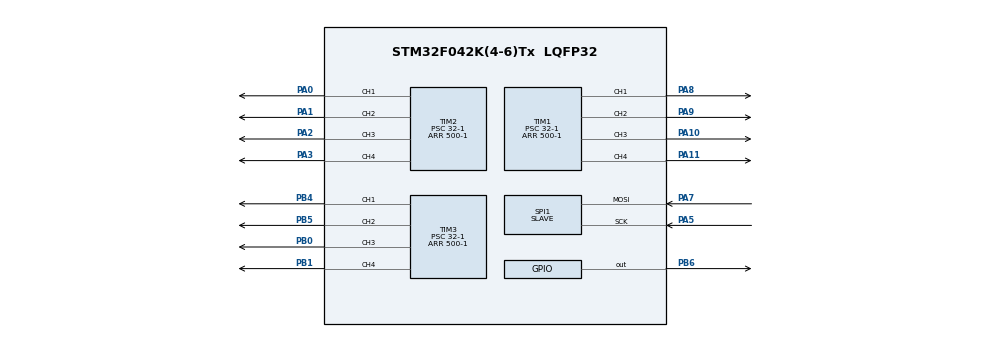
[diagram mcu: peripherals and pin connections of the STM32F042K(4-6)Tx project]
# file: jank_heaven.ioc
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Mcu.Family=STM32F0
Mcu.Name=STM32F042K(4-6)Tx
Mcu.Package=LQFP32
NVIC.SPI1_IRQn=true\:0\:0\:false\:false\:true\:true\:true\:true
PA0.Signal=S_TIM2_CH1_ETR
PA1.Signal=S_TIM2_CH2
PA10.Signal=S_TIM1_CH3
PA11.Signal=S_TIM1_CH4
PA13.Mode=Serial_Wire
PA13.Signal=SYS_SWDIO
PA14.Mode=Serial_Wire
PA14.Signal=SYS_SWCLK
PA2.Signal=S_TIM2_CH3
PA3.Signal=S_TIM2_CH4
PA4.Signal=SPI1_NSS
PA5.Mode=RX_Only_Simplex_Unidirect_Slave
PA5.Signal=SPI1_SCK
PA6.Signal=SPI1_MISO
PA7.Mode=RX_Only_Simplex_Unidirect_Slave
PA7.Signal=SPI1_MOSI
PA8.Signal=S_TIM1_CH1
PA9.Signal=S_TIM1_CH2
PB0.Signal=S_TIM3_CH3
PB1.Signal=S_TIM3_CH4
PB4.Signal=S_TIM3_CH1
PB5.Signal=S_TIM3_CH2
PB6.Signal=GPIO_Output
ProjectManager.HeapSize=0x200
ProjectManager.StackSize=0x400
ProjectManager.TargetToolchain=STM32CubeIDE
SH.S_TIM1_CH1.0=TIM1_CH1,PWM Generation1 CH1
SH.S_TIM1_CH2.0=TIM1_CH2,PWM Generation2 CH2
SH.S_TIM1_CH3.0=TIM1_CH3,PWM Generation3 CH3
SH.S_TIM1_CH4.0=TIM1_CH4,PWM Generation4 CH4
SH.S_TIM2_CH1_ETR.0=TIM2_CH1,PWM Generation1 CH1
SH.S_TIM2_CH2.0=TIM2_CH2,PWM Generation2 CH2
SH.S_TIM2_CH3.0=TIM2_CH3,PWM Generation3 CH3
SH.S_TIM2_CH4.0=TIM2_CH4,PWM Generation4 CH4
SH.S_TIM3_CH1.0=TIM3_CH1,PWM Generation1 CH1
SH.S_TIM3_CH2.0=TIM3_CH2,PWM Generation2 CH2
SH.S_TIM3_CH3.0=TIM3_CH3,PWM Generation3 CH3
SH.S_TIM3_CH4.0=TIM3_CH4,PWM Generation4 CH4
SPI1.DataSize=SPI_DATASIZE_8BIT
SPI1.Direction=SPI_DIRECTION_2LINES_RXONLY
SPI1.Mode=SPI_MODE_SLAVE
SPI1.VirtualType=VM_SLAVE
TIM1.Channel-PWM\ Generation1\ CH1=TIM_CHANNEL_1
TIM1.Channel-PWM\ Generation2\ CH2=TIM_CHANNEL_2
TIM1.Channel-PWM\ Generation3\ CH3=TIM_CHANNEL_3
TIM1.Channel-PWM\ Generation4\ CH4=TIM_CHANNEL_4
TIM1.Period=500-1
TIM1.Prescaler=32-1
TIM2.Channel-PWM\ Generation1\ CH1=TIM_CHANNEL_1
TIM2.Channel-PWM\ Generation2\ CH2=TIM_CHANNEL_2
TIM2.Channel-PWM\ Generation3\ CH3=TIM_CHANNEL_3
TIM2.Channel-PWM\ Generation4\ CH4=TIM_CHANNEL_4
TIM2.Period=500-1
TIM2.Prescaler=32-1
TIM2.Pulse-PWM\ Generation1\ CH1=375
TIM2.Pulse-PWM\ Generation2\ CH2=375
TIM2.Pulse-PWM\ Generation3\ CH3=375
TIM2.Pulse-PWM\ Generation4\ CH4=375
TIM3.Channel-PWM\ Generation1\ CH1=TIM_CHANNEL_1
TIM3.Channel-PWM\ Generation2\ CH2=TIM_CHANNEL_2
TIM3.Channel-PWM\ Generation3\ CH3=TIM_CHANNEL_3
TIM3.Channel-PWM\ Generation4\ CH4=TIM_CHANNEL_4
TIM3.Period=500-1
TIM3.Prescaler=32-1
TIM3.Pulse-PWM\ Generation2\ CH2=375
TIM3.Pulse-PWM\ Generation3\ CH3=375
TIM3.Pulse-PWM\ Generation4\ CH4=375
board=custom

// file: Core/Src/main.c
/* USER CODE BEGIN Header */
/**
  ******************************************************************************
  * @file           : main.c
  * @brief          : Main program body
  ******************************************************************************
  * @attention
  *
  * <h2><center>&copy; Copyright (c) 2023 STMicroelectronics.
  * All rights reserved.</center></h2>
  *
  * This software component is licensed by ST under BSD 3-Clause license,
  * the "License"; You may not use this file except in compliance with the
  * License. You may obtain a copy of the License at:
  *                        opensource.org/licenses/BSD-3-Clause
  *
  ******************************************************************************
  */
/* USER CODE END Header */
#include "main.h"

/* USER CODE BEGIN PD */
#define SPI_BUFFER_SIZE 8
/* USER CODE END PD */

SPI_HandleTypeDef hspi1;

TIM_HandleTypeDef htim1;
TIM_HandleTypeDef htim2;
TIM_HandleTypeDef htim3;

/* USER CODE BEGIN PV */

uint8_t SPI_RX_Buffer[SPI_BUFFER_SIZE] = {127, 127, 127, 127, 127, 127, 127, 127};

/* USER CODE END PV */

void SystemClock_Config(void);
static void MX_GPIO_Init(void);
static void MX_SPI1_Init(void);
static void MX_TIM2_Init(void);
static void MX_TIM3_Init(void);
static void MX_TIM1_Init(void);
/* USER CODE BEGIN PFP */

void EnablePWMOutput(TIM_HandleTypeDef *_htim);

/* USER CODE END PFP */

int main(void)
{

  /* MCU Configuration--------------------------------------------------------*/

  /* Reset of all peripherals, Initializes the Flash interface and the Systick. */
  HAL_Init();

  /* Configure the system clock */
  SystemClock_Config();

  /* Initialize all configured peripherals */
  MX_GPIO_Init();
  MX_SPI1_Init();
  MX_TIM2_Init();
  MX_TIM3_Init();
  MX_TIM1_Init();
  /* USER CODE BEGIN 2 */

  /**
    * @brief  Receive an amount of data in non-blocking mode with Interrupt.
    * @param  hspi pointer to a SPI_HandleTypeDef structure that contains
    *               the configuration information for SPI module.
    * @param  pData pointer to data buffer
    * @param  Size amount of data to be sent
    * @retval HAL status

  HAL_StatusTypeDef HAL_SPI_Receive_IT(SPI_HandleTypeDef *hspi, uint8_t *pData, uint16_t Size)
  */
  //HAL_SPI_Receive_IT(&hspi1, SPI_RX_Buffer, SPI_BUFFER_SIZE);
  //HAL_TIM_PWM_Start
  /*
  HAL_TIM_PWM_Start(&htim3, 1);
  HAL_TIM_PWM_Start(&htim3, 2);
  HAL_TIM_PWM_Start(&htim3, 3);
  HAL_TIM_PWM_Start(&htim3, 4);

  HAL_TIM_PWM_Start(&htim2, 1);
  HAL_TIM_PWM_Start(&htim2, 2);
  HAL_TIM_PWM_Start(&htim2, 3);
  HAL_TIM_PWM_Start(&htim2, 4);
*/

  EnablePWMOutput(&htim3);
  EnablePWMOutput(&htim2);
  EnablePWMOutput(&htim1);

  /* USER CODE END 2 */

  /* Infinite loop */
  /* USER CODE BEGIN WHILE */

  HAL_SPI_Receive_IT(&hspi1, SPI_RX_Buffer, SPI_BUFFER_SIZE);

  /*
  int i;
  for (i=0;i<8;i++) {
	  SPI_RX_Buffer[i] = 30;
  }
  HAL_SPI_RxCpltCallback(&hspi1);*/

  while (1)
  {
	  //HAL_IWDG_Refresh(&hiwdg);
	  //HAL_SPI_Receive_IT(&hspi1, SPI_RX_Buffer, SPI_BUFFER_SIZE);
	  //HAL_SPI_Receive(&hspi1, SPI_RX_Buffer, SPI_BUFFER_SIZE, 50000);
	  //HAL_NVIC_DisableIRQ(SPI1_IRQn);
	  //Data handling goes here

//	  htim3.Instance->CCR1 = (uint32_t) SPI_RX_Buffer[0] + 250;
//	  htim3.Instance->CCR2 = (uint32_t) SPI_RX_Buffer[1] + 250;
//	  htim3.Instance->CCR3 = (uint32_t) SPI_RX_Buffer[2] + 250;
//	  htim3.Instance->CCR4 = (uint32_t) SPI_RX_Buffer[3] + 250;
//
//	  htim2.Instance->CCR1 = (uint32_t) SPI_RX_Buffer[4] + 250;
//	  htim2.Instance->CCR2 = (uint32_t) SPI_RX_Buffer[5] + 250;
//	  htim2.Instance->CCR3 = (uint32_t) SPI_RX_Buffer[6] + 250;
//	  htim2.Instance->CCR4 = (uint32_t) SPI_RX_Buffer[7] + 250;

	  //HAL_NVIC_EnableIRQ(SPI1_IRQn);
    /* USER CODE END WHILE */

  }
}

void SystemClock_Config(void)
{
  RCC_OscInitTypeDef RCC_OscInitStruct = {0};
  RCC_ClkInitTypeDef RCC_ClkInitStruct = {0};

  /** Initializes the RCC Oscillators according to the specified parameters
  * in the RCC_OscInitTypeDef structure.
  */
  RCC_OscInitStruct.OscillatorType = RCC_OSCILLATORTYPE_HSI;
  RCC_OscInitStruct.HSIState = RCC_HSI_ON;
  RCC_OscInitStruct.HSICalibrationValue = RCC_HSICALIBRATION_DEFAULT;
  RCC_OscInitStruct.PLL.PLLState = RCC_PLL_NONE;
  if (HAL_RCC_OscConfig(&RCC_OscInitStruct) != HAL_OK)
  {
    Error_Handler();
  }
  /** Initializes the CPU, AHB and APB buses clocks
  */
  RCC_ClkInitStruct.ClockType = RCC_CLOCKTYPE_HCLK|RCC_CLOCKTYPE_SYSCLK
                              |RCC_CLOCKTYPE_PCLK1;
  RCC_ClkInitStruct.SYSCLKSource = RCC_SYSCLKSOURCE_HSI;
  RCC_ClkInitStruct.AHBCLKDivider = RCC_SYSCLK_DIV1;
  RCC_ClkInitStruct.APB1CLKDivider = RCC_HCLK_DIV1;

  if (HAL_RCC_ClockConfig(&RCC_ClkInitStruct, FLASH_LATENCY_0) != HAL_OK)
  {
    Error_Handler();
  }
}

static void MX_SPI1_Init(void)
{

  /* SPI1 parameter configuration*/
  hspi1.Instance = SPI1;
  hspi1.Init.Mode = SPI_MODE_SLAVE;
  hspi1.Init.Direction = SPI_DIRECTION_2LINES_RXONLY;
  hspi1.Init.DataSize = SPI_DATASIZE_8BIT;
  hspi1.Init.CLKPolarity = SPI_POLARITY_LOW;
  hspi1.Init.CLKPhase = SPI_PHASE_1EDGE;
  hspi1.Init.NSS = SPI_NSS_SOFT;
  hspi1.Init.FirstBit = SPI_FIRSTBIT_MSB;
  hspi1.Init.TIMode = SPI_TIMODE_DISABLE;
  hspi1.Init.CRCCalculation = SPI_CRCCALCULATION_DISABLE;
  hspi1.Init.CRCPolynomial = 7;
  hspi1.Init.CRCLength = SPI_CRC_LENGTH_DATASIZE;
  hspi1.Init.NSSPMode = SPI_NSS_PULSE_DISABLE;
  if (HAL_SPI_Init(&hspi1) != HAL_OK)
  {
    Error_Handler();
  }

}

static void MX_TIM1_Init(void)
{

  TIM_MasterConfigTypeDef sMasterConfig = {0};
  TIM_OC_InitTypeDef sConfigOC = {0};
  TIM_BreakDeadTimeConfigTypeDef sBreakDeadTimeConfig = {0};

  htim1.Instance = TIM1;
  htim1.Init.Prescaler = 32-1;
  htim1.Init.CounterMode = TIM_COUNTERMODE_UP;
  htim1.Init.Period = 500-1;
  htim1.Init.ClockDivision = TIM_CLOCKDIVISION_DIV1;
  htim1.Init.RepetitionCounter = 0;
  htim1.Init.AutoReloadPreload = TIM_AUTORELOAD_PRELOAD_DISABLE;
  if (HAL_TIM_PWM_Init(&htim1) != HAL_OK)
  {
    Error_Handler();
  }
  sMasterConfig.MasterOutputTrigger = TIM_TRGO_RESET;
  sMasterConfig.MasterSlaveMode = TIM_MASTERSLAVEMODE_DISABLE;
  if (HAL_TIMEx_MasterConfigSynchronization(&htim1, &sMasterConfig) != HAL_OK)
  {
    Error_Handler();
  }
  sConfigOC.OCMode = TIM_OCMODE_PWM1;
  sConfigOC.Pulse = 0;
  sConfigOC.OCPolarity = TIM_OCPOLARITY_HIGH;
  sConfigOC.OCNPolarity = TIM_OCNPOLARITY_HIGH;
  sConfigOC.OCFastMode = TIM_OCFAST_DISABLE;
  sConfigOC.OCIdleState = TIM_OCIDLESTATE_RESET;
  sConfigOC.OCNIdleState = TIM_OCNIDLESTATE_RESET;
  if (HAL_TIM_PWM_ConfigChannel(&htim1, &sConfigOC, TIM_CHANNEL_1) != HAL_OK)
  {
    Error_Handler();
  }
  if (HAL_TIM_PWM_ConfigChannel(&htim1, &sConfigOC, TIM_CHANNEL_2) != HAL_OK)
  {
    Error_Handler();
  }
  if (HAL_TIM_PWM_ConfigChannel(&htim1, &sConfigOC, TIM_CHANNEL_3) != HAL_OK)
  {
    Error_Handler();
  }
  if (HAL_TIM_PWM_ConfigChannel(&htim1, &sConfigOC, TIM_CHANNEL_4) != HAL_OK)
  {
    Error_Handler();
  }
  sBreakDeadTimeConfig.OffStateRunMode = TIM_OSSR_DISABLE;
  sBreakDeadTimeConfig.OffStateIDLEMode = TIM_OSSI_DISABLE;
  sBreakDeadTimeConfig.LockLevel = TIM_LOCKLEVEL_OFF;
  sBreakDeadTimeConfig.DeadTime = 0;
  sBreakDeadTimeConfig.BreakState = TIM_BREAK_DISABLE;
  sBreakDeadTimeConfig.BreakPolarity = TIM_BREAKPOLARITY_HIGH;
  sBreakDeadTimeConfig.AutomaticOutput = TIM_AUTOMATICOUTPUT_DISABLE;
  if (HAL_TIMEx_ConfigBreakDeadTime(&htim1, &sBreakDeadTimeConfig) != HAL_OK)
  {
    Error_Handler();
  }
  HAL_TIM_MspPostInit(&htim1);

}

static void MX_TIM2_Init(void)
{

  TIM_MasterConfigTypeDef sMasterConfig = {0};
  TIM_OC_InitTypeDef sConfigOC = {0};

  htim2.Instance = TIM2;
  htim2.Init.Prescaler = 32-1;
  htim2.Init.CounterMode = TIM_COUNTERMODE_UP;
  htim2.Init.Period = 500-1;
  htim2.Init.ClockDivision = TIM_CLOCKDIVISION_DIV1;
  htim2.Init.AutoReloadPreload = TIM_AUTORELOAD_PRELOAD_DISABLE;
  if (HAL_TIM_PWM_Init(&htim2) != HAL_OK)
  {
    Error_Handler();
  }
  sMasterConfig.MasterOutputTrigger = TIM_TRGO_RESET;
  sMasterConfig.MasterSlaveMode = TIM_MASTERSLAVEMODE_DISABLE;
  if (HAL_TIMEx_MasterConfigSynchronization(&htim2, &sMasterConfig) != HAL_OK)
  {
    Error_Handler();
  }
  sConfigOC.OCMode = TIM_OCMODE_PWM1;
  sConfigOC.Pulse = 375;
  sConfigOC.OCPolarity = TIM_OCPOLARITY_HIGH;
  sConfigOC.OCFastMode = TIM_OCFAST_DISABLE;
  if (HAL_TIM_PWM_ConfigChannel(&htim2, &sConfigOC, TIM_CHANNEL_1) != HAL_OK)
  {
    Error_Handler();
  }
  if (HAL_TIM_PWM_ConfigChannel(&htim2, &sConfigOC, TIM_CHANNEL_2) != HAL_OK)
  {
    Error_Handler();
  }
  if (HAL_TIM_PWM_ConfigChannel(&htim2, &sConfigOC, TIM_CHANNEL_3) != HAL_OK)
  {
    Error_Handler();
  }
  if (HAL_TIM_PWM_ConfigChannel(&htim2, &sConfigOC, TIM_CHANNEL_4) != HAL_OK)
  {
    Error_Handler();
  }
  HAL_TIM_MspPostInit(&htim2);

}

static void MX_TIM3_Init(void)
{

  TIM_MasterConfigTypeDef sMasterConfig = {0};
  TIM_OC_InitTypeDef sConfigOC = {0};

  htim3.Instance = TIM3;
  htim3.Init.Prescaler = 32-1;
  htim3.Init.CounterMode = TIM_COUNTERMODE_UP;
  htim3.Init.Period = 500-1;
  htim3.Init.ClockDivision = TIM_CLOCKDIVISION_DIV1;
  htim3.Init.AutoReloadPreload = TIM_AUTORELOAD_PRELOAD_DISABLE;
  if (HAL_TIM_PWM_Init(&htim3) != HAL_OK)
  {
    Error_Handler();
  }
  sMasterConfig.MasterOutputTrigger = TIM_TRGO_RESET;
  sMasterConfig.MasterSlaveMode = TIM_MASTERSLAVEMODE_DISABLE;
  if (HAL_TIMEx_MasterConfigSynchronization(&htim3, &sMasterConfig) != HAL_OK)
  {
    Error_Handler();
  }
  sConfigOC.OCMode = TIM_OCMODE_PWM1;
  sConfigOC.Pulse = 0;
  sConfigOC.OCPolarity = TIM_OCPOLARITY_HIGH;
  sConfigOC.OCFastMode = TIM_OCFAST_DISABLE;
  if (HAL_TIM_PWM_ConfigChannel(&htim3, &sConfigOC, TIM_CHANNEL_1) != HAL_OK)
  {
    Error_Handler();
  }
  sConfigOC.Pulse = 375;
  if (HAL_TIM_PWM_ConfigChannel(&htim3, &sConfigOC, TIM_CHANNEL_2) != HAL_OK)
  {
    Error_Handler();
  }
  if (HAL_TIM_PWM_ConfigChannel(&htim3, &sConfigOC, TIM_CHANNEL_3) != HAL_OK)
  {
    Error_Handler();
  }
  if (HAL_TIM_PWM_ConfigChannel(&htim3, &sConfigOC, TIM_CHANNEL_4) != HAL_OK)
  {
    Error_Handler();
  }
  HAL_TIM_MspPostInit(&htim3);

}

static void MX_GPIO_Init(void)
{
  GPIO_InitTypeDef GPIO_InitStruct = {0};

  /* GPIO Ports Clock Enable */
  __HAL_RCC_GPIOA_CLK_ENABLE();
  __HAL_RCC_GPIOB_CLK_ENABLE();

  /*Configure GPIO pin Output Level */
  HAL_GPIO_WritePin(GPIOB, GPIO_PIN_6, GPIO_PIN_RESET);

  /*Configure GPIO pin : PB6 */
  GPIO_InitStruct.Pin = GPIO_PIN_6;
  GPIO_InitStruct.Mode = GPIO_MODE_OUTPUT_PP;
  GPIO_InitStruct.Pull = GPIO_NOPULL;
  GPIO_InitStruct.Speed = GPIO_SPEED_FREQ_LOW;
  HAL_GPIO_Init(GPIOB, &GPIO_InitStruct);

}

/* USER CODE BEGIN 4 */

void EnablePWMOutput(TIM_HandleTypeDef *_htim) {
	//  Set HAL Timer Channel Status
	TIM_CHANNEL_STATE_SET_ALL(_htim, HAL_TIM_CHANNEL_STATE_BUSY);

	//  Enable outputs for all 4 PWM Channels
	_htim->Instance->CCER |= (TIM_CCER_CC1E | TIM_CCER_CC2E | TIM_CCER_CC3E | TIM_CCER_CC4E);

	//  Enable Timer Counter
	_htim->Instance->CR1 |= TIM_CR1_CEN;
}

void HAL_SPI_RxCpltCallback(SPI_HandleTypeDef * hspi)
{
    HAL_SPI_Receive_IT(&hspi1, SPI_RX_Buffer, SPI_BUFFER_SIZE);
	htim3.Instance->CCR1 = (uint32_t) SPI_RX_Buffer[0] + 250;
	htim3.Instance->CCR2 = (uint32_t) SPI_RX_Buffer[1] + 250;
	htim3.Instance->CCR3 = (uint32_t) SPI_RX_Buffer[2] + 250;
	htim3.Instance->CCR4 = (uint32_t) SPI_RX_Buffer[3] + 250;

	htim2.Instance->CCR1 = (uint32_t) SPI_RX_Buffer[4] + 250;
	htim2.Instance->CCR2 = (uint32_t) SPI_RX_Buffer[5] + 250;
	htim2.Instance->CCR3 = (uint32_t) SPI_RX_Buffer[6] + 250;
	htim2.Instance->CCR4 = (uint32_t) SPI_RX_Buffer[7] + 250;
}

/* USER CODE END 4 */

void Error_Handler(void)
{
}

/************************ (C) COPYRIGHT STMicroelectronics *****END OF FILE****/
